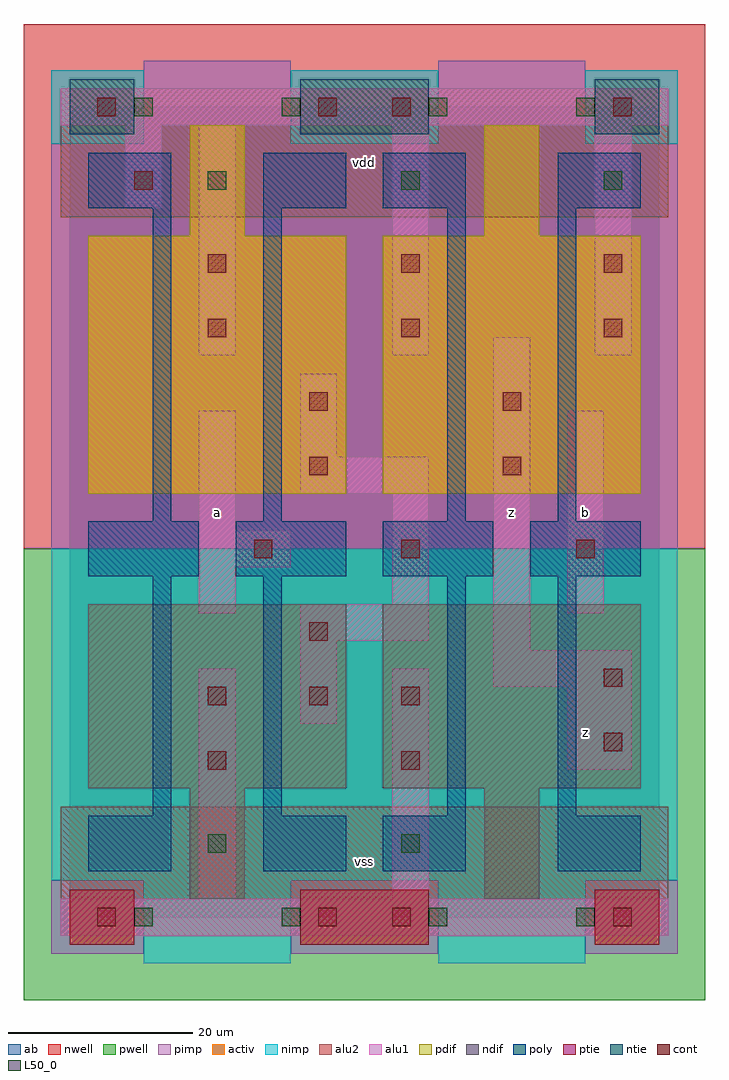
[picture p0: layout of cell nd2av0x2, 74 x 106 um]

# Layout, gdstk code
import gdstk
lib = gdstk.Library(unit=1e-6, precision=1e-09)
def R(c, l, rs):  # rectangles x0, y0, x1, y1
    for r in rs: c.add(gdstk.rectangle(r[:2], r[2:], *l))
def A(c, l, x, y, w, h, nx, ny, dx, dy):  # array of equal rectangles
    R(c, l, [(x+i*dx, y+j*dy, x+i*dx+w, y+j*dy+h) for i in range(nx) for j in range(ny)])
ndif = (3, 0)
pdif = (4, 0)
ntie = (5, 0)
ptie = (6, 0)
cont = (25, 0)
pwell = (41, 0)
nwell = (42, 0)
activ = (43, 0)
pimp = (44, 0)
nimp = (45, 0)
poly = (46, 0)
alu1 = (49, 0)
L50_0 = (50, 0)
alu2 = (51, 0)
ab = (63, 0)

nd2av0x2 = lib.new_cell('nd2av0x2')
R(nd2av0x2, ndif, [(13,2,19,14), (45,2,51,14), (2,14,30,34), (34,14,62,34)])
R(nd2av0x2, pdif, [(2,46,30,74), (34,46,62,74), (13,74,19,86), (45,74,51,86)])
R(nd2av0x2, ntie, [(0,85,7,91), (25,85,39,91), (57,85,64,91)])
R(nd2av0x2, ptie, [(0,-3,7,3), (25,-3,39,3), (57,-3,64,3)])
R(nd2av0x2, cont, [(3,-1,5,1), (27,-1,29,1), (35,-1,37,1), (59,-1,61,1), (15,16,17,18), (36,16,38,18), (58,18,60,20), (15,23,17,25), (26,23,28,25), (36,23,38,25), (58,25,60,27), (26,30,28,32), (20,39,22,41), (36,39,38,41), (55,39,57,41), (26,48,28,50), (47,48,49,50), (26,55,28,57), (47,55,49,57), (15,63,17,65), (36,63,38,65), (58,63,60,65), (15,70,17,72), (36,70,38,72), (58,70,60,72), (7,79,9,81), (3,87,5,89), (27,87,29,89), (35,87,37,89), (59,87,61,89)])
R(nd2av0x2, pwell, [(-5,-9,69,40)])
R(nd2av0x2, nwell, [(-5,40,69,97)])
R(nd2av0x2, activ, [(0,-3,7,3), (25,-3,39,3), (57,-3,64,3), (13,2,19,14), (45,2,51,14), (2,14,30,34), (34,14,62,34), (2,46,30,74), (34,46,62,74), (13,74,19,86), (45,74,51,86), (0,85,7,91), (25,85,39,91), (57,85,64,91)])
R(nd2av0x2, pimp, [(-2,-4,8,4), (24,-4,40,4), (56,-4,66,4), (-2,40,66,84), (8,84,24,93), (40,84,56,93)])
R(nd2av0x2, nimp, [(8,-5,24,4), (40,-5,56,4), (-2,4,66,40), (-2,84,8,92), (24,84,40,92), (56,84,66,92)])
A(nd2av0x2, poly, 2, 37, 12, 6, 4, 1, 16, 0)
R(nd2av0x2, poly, [(2,5,11,11), (21,5,30,11), (34,5,43,11), (53,5,62,11), (9,11,11,37), (21,11,23,37), (41,11,43,37), (53,11,55,37), (9,43,11,77), (21,43,23,77), (41,43,43,77), (53,43,55,77), (2,77,11,83), (21,77,30,83), (34,77,43,83), (53,77,62,83)])
R(nd2av0x2, alu1, [(-1,-2,65,2), (14,2,18,27), (35,2,39,27), (54,16,61,25), (25,21,29,30), (46,25,61,29), (46,29,50,63), (25,30,39,34), (14,33,18,38), (54,33,58,55), (35,34,39,46), (14,38,24,42), (14,42,18,55), (25,46,39,50), (25,50,29,59), (14,61,18,86), (35,61,39,86), (57,61,61,86), (6,77,10,86), (-1,86,65,90)])
A(nd2av0x2, L50_0, 7, -1, 2, 2, 4, 2, 16, 88)
R(nd2av0x2, L50_0, [(15,7,17,9), (36,7,38,9), (15,79,17,81), (36,79,38,81), (58,79,60,81)])
R(nd2av0x2, alu2, [(-1,-2,65,12), (-1,76,65,90)])
R(nd2av0x2, ab, [(0,0,64,88)])
nd2av0x2.add(gdstk.Label('a', (16,44), layer=49, texttype=0))
nd2av0x2.add(gdstk.Label('z', (56,20), layer=49, texttype=0))
nd2av0x2.add(gdstk.Label('b', (56,44), layer=49, texttype=0))
nd2av0x2.add(gdstk.Label('z', (48,44), layer=49, texttype=0))
nd2av0x2.add(gdstk.Label('vss', (32,6), layer=51, texttype=0))
nd2av0x2.add(gdstk.Label('vdd', (32,82), layer=51, texttype=0))

lib.write_gds('nd2av0x2.gds')
